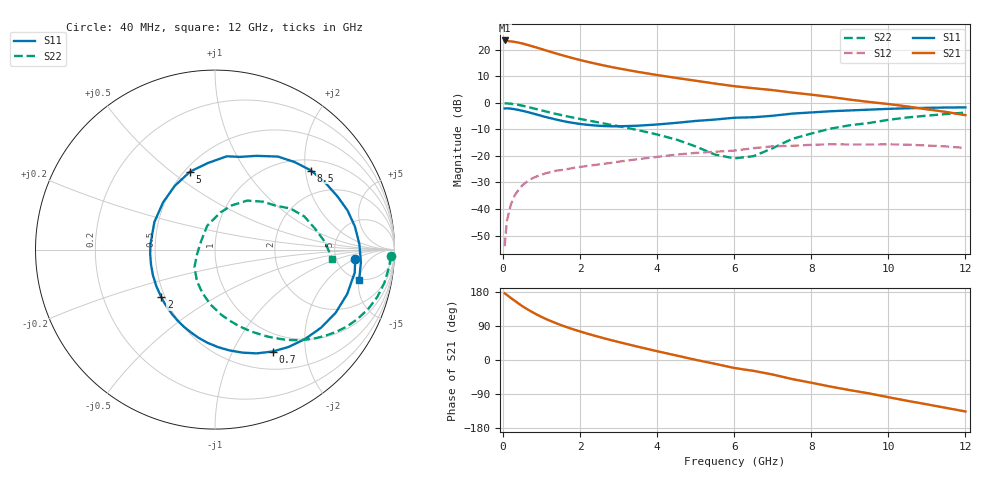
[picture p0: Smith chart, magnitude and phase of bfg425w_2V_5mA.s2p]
! Filename: 25bfg425.001
! BFG425W Field C1
! V1=8.298E-001V,V2=2.000E+000V, I1=6.614E-005A, I2=5.000E-003A
# GHz  S  MA  R 50
!  S11  S21  S12  S22
!Freq(GHz)  Mag  Ang  Mag  Ang  Mag  Ang  Mag  Ang
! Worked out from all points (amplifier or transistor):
!   44 points, 40 MHz to 12 GHz, reference 50 ohm
!   highest |S21| = 23.5 dB at 40 MHz (marker M1)
!   |S21| within 3 dB of that: start of sweep to 944.9 MHz
!   unconditionally stable (mu >= 1): 2.439 GHz to end of sweep
!   at 700 MHz: K = 0.33, MSG = 25.2 dB, |S12| = -28.9 dB
!   at 2.4 GHz: K = 0.99, MSG = 19.1 dB, |S12| = -23.3 dB
!   at 12 GHz: K = 1.49, MAG = 2.0 dB, |S12| = -17.0 dB
!   S11 on the Smith chart (normalised r, x): 40 MHz: 7.64, -2.08; 700 MHz: 0.73, -1.45; 2 GHz: 0.48, -0.30; 5 GHz: 0.53, +0.58; 8.5 GHz: 1.27, +2.15; 12 GHz: 4.77, -5.02
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0.04  0.783 -3.9  14.94 176.1  0.002 76.6  0.979 -2.1
0.1  0.789 -9.3  14.62 171.6  0.006 85.0  0.976 -5.5
0.2  0.777 -18.6  14.36 163.8  0.012 78.7  0.962 -11.0
0.4  0.734 -36.3  13.59 149.2  0.023 69.0  0.915 -21.3
0.5  0.707 -44.8  13.11 142.1  0.028 64.6  0.884 -25.8
0.7  0.652 -60.6  11.93 129.8  0.036 56.7  0.817 -34.1
0.8  0.623 -68.1  11.37 124.0  0.039 53.5  0.783 -37.6
1  0.567 -81.9  10.28 113.6  0.044 48.0  0.72 -44.0
1.3  0.5 -100.5  8.816 100.2  0.051 41.7  0.637 -52.0
1.6  0.447 -117.8  7.635 88.6  0.056 37.2  0.569 -58.5
2  0.4 -138.4  6.395 75.2  0.062 32.8  0.497 -66.3
2.2  0.385 -148.3  5.899 69.2  0.065 31.0  0.466 -70.0
2.6  0.366 -167.0  5.083 57.9  0.071 27.6  0.411 -77.3
3  0.361 175.5  4.445 47.4  0.078 24.2  0.363 -84.7
3.5  0.371 155.6  3.825 35.1  0.087 19.6  0.307 -94.7
4.5  0.42 122.2  2.941 11.9  0.106 8.5  0.203 -119.6
5  0.456 107.8  2.607 0.4  0.114 1.3  0.151 -139.4
6  0.524 82.8  2.058 -21.1  0.126 -12.6  0.09 150.5
6.5  0.535 74.9  1.884 -28.7  0.14 -14.1  0.099 132.6
8.5  0.694 39.4  1.289 -70.2  0.166 -49.4  0.327 56.6
10.5  0.79 9.3  0.853 -107.9  0.163 -84.0  0.531 20.4
12  0.821 -12.1  0.586 -135.8  0.141 -114.1  0.655 -4.6
